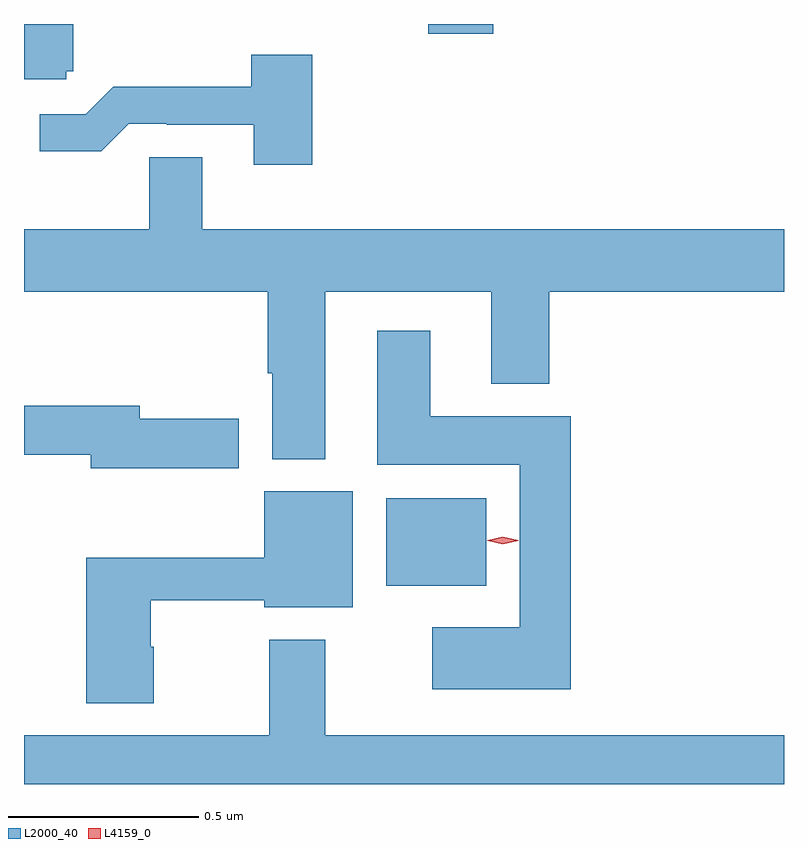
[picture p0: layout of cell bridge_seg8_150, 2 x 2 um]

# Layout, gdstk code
import gdstk
lib = gdstk.Library(unit=1e-6, precision=1e-09)
def R(c, l, rs):  # rectangles x0, y0, x1, y1
    for r in rs: c.add(gdstk.rectangle(r[:2], r[2:], *l))
def P(c, l, *ps):  # polygons
    for p in ps: c.add(gdstk.Polygon(p, *l))
L2000_40 = (2000, 40)
L4159_0 = (4159, 0)

bridge_seg8_150 = lib.new_cell('bridge_seg8_150')
R(bridge_seg8_150, L2000_40, [(511.553,1158.35,511.816,1158.58), (511.664,1159.803,511.835,1159.828)])
P(bridge_seg8_150, L2000_40, [(510.711,1159.704),(510.73,1159.704),(510.73,1159.828),(510.6,1159.828),(510.6,1159.683),(510.711,1159.683)],
  [(511.358,1159.747),(511.198,1159.747),(511.198,1159.663),(510.835,1159.663),(510.762,1159.59),(510.642,1159.59),(510.642,1159.493),(510.803,1159.493),(510.876,1159.566),(510.976,1159.566),(510.976,1159.563),(511.205,1159.563),(511.205,1159.458),(511.358,1159.458)],
  [(511.069,1159.478),(510.93,1159.478),(510.93,1159.288),(510.6,1159.288),(510.6,1159.124),(511.241,1159.124),(511.241,1158.909),(511.253,1158.909),(511.253,1158.683),(511.393,1158.683),(511.393,1159.124),(511.829,1159.124),(511.829,1158.881),(511.982,1158.881),(511.982,1159.124),(512.6,1159.124),(512.6,1159.288),(511.069,1159.288)],
  [(512.039,1158.796),(511.669,1158.796),(511.669,1159.021),(511.529,1159.021),(511.529,1158.668),(511.904,1158.668),(511.904,1158.241),(511.674,1158.241),(511.674,1158.077),(512.039,1158.077)],
  [(511.165,1158.789),(510.904,1158.789),(510.904,1158.823),(510.6,1158.823),(510.6,1158.694),(510.776,1158.694),(510.776,1158.659),(511.165,1158.659)],
  [(510.942,1158.189),(510.934,1158.189),(510.934,1158.312),(511.232,1158.312),(511.232,1158.293),(511.465,1158.293),(511.465,1158.598),(511.232,1158.598),(511.232,1158.423),(510.764,1158.423),(510.764,1158.041),(510.942,1158.041)],
  [(512.6,1157.956),(511.393,1157.956),(511.393,1158.208),(511.246,1158.208),(511.246,1157.956),(510.6,1157.956),(510.6,1157.828),(512.6,1157.828)])
P(bridge_seg8_150, L4159_0, [(511.86,1158.459),(511.82,1158.468),(511.819,1158.469),(511.82,1158.469),(511.86,1158.479),(511.901,1158.469),(511.901,1158.469),(511.901,1158.468)])

lib.write_gds('bridge_seg8_150.gds')
